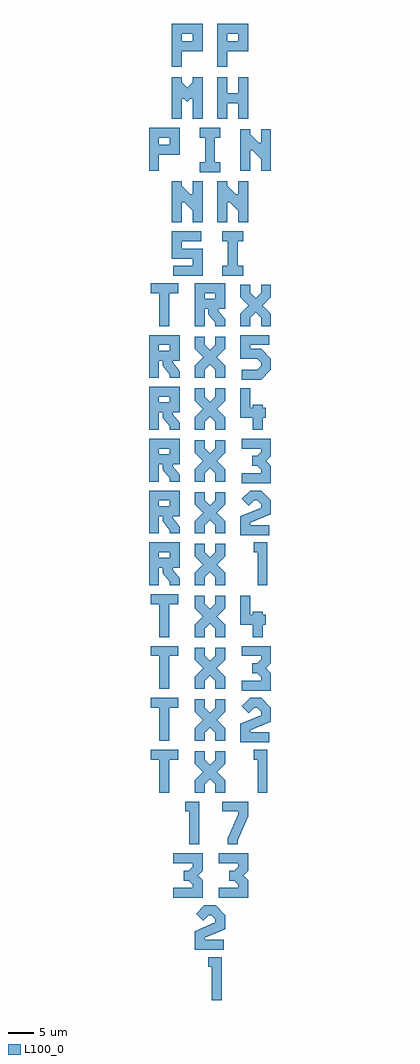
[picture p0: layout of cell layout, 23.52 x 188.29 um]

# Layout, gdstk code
import gdstk
lib = gdstk.Library(unit=1e-6, precision=1e-09)
def R(c, l, rs):  # rectangles x0, y0, x1, y1
    for r in rs: c.add(gdstk.rectangle(r[:2], r[2:], *l))
def A(c, l, x, y, w, h, nx, ny, dx, dy):  # array of equal rectangles
    R(c, l, [(x+i*dx, y+j*dy, x+i*dx+w, y+j*dy+h) for i in range(nx) for j in range(ny)])
def P(c, l, *ps):  # polygons
    for p in ps: c.add(gdstk.Polygon(p, *l))
L100_0 = (100, 0)

layout = lib.new_cell('layout')
A(layout, L100_0, -6.96, 39.333, 1.92, 7.334, 1, 4, 0, 10)
A(layout, L100_0, -8.667, 45.707, 5.334, 1.92, 1, 4, 0, 10)
R(layout, L100_0, [(11.04,69.333,12.96,74.2), (11.04,109.333,12.96,114.2), (-6.96,129.333,-5.04,136.667), (-8.667,135.707,-3.333,137.627), (5.2,139.04,9.2,140.96), (6.24,140,8.16,146.667), (5.2,145.707,9.2,147.627), (-4.56,149.333,-2.64,157.333), (-0.56,149.333,1.36,157.333), (4.24,149.333,6.16,157.333), (8.24,149.333,10.16,157.333), (-1.6,152.84,0.4,154.76), (7.2,152.84,9.2,154.76), (-3.6,153.24,-1.6,155.16), (5.2,153.24,7.2,155.16), (0.8,159.04,4.8,160.96), (8.64,159.333,10.56,167.333), (12.64,159.333,14.56,167.333), (1.84,160,3.76,166.667), (11.6,162.84,13.6,164.76), (9.6,163.24,11.6,165.16), (0.8,165.707,4.8,167.627), (-4.56,169.333,-2.64,177.333), (-0.56,169.333,1.36,177.333), (4.24,169.333,6.16,177.333), (8.24,169.333,10.16,177.333), (5.2,172.373,9.2,174.293), (-3.6,173.24,0.4,175.16)])
P(layout, L100_0, [(2.467,7.627),(5.093,7.627),(5.093,-0.667),(3.173,-0.667),(3.173,5.707),(2.467,5.707)],
  [(0.121,16.012),(1.736,17.627),(3.864,17.627),(5.76,15.731),(5.76,13.027),(1.76,11.36),(1.76,10.96),(5.467,10.96),(5.467,9.04),(-0.16,9.04),(-0.16,12.64),(3.84,14.307),(3.84,14.936),(3.069,15.707),(2.531,15.707),(1.479,14.655)],
  [(-4.267,27.627),(1.36,27.627),(1.36,24.269),(-0.536,22.373),(-2.267,22.373),(-2.267,24.293),(-1.331,24.293),(-0.56,25.064),(-0.56,25.707),(-4.267,25.707)],
  [(-0.255,24.012),(1.36,22.398),(1.36,19.04),(-4.267,19.04),(-4.267,20.96),(-0.56,20.96),(-0.56,21.602),(-1.612,22.655)],
  [(4.533,27.627),(10.16,27.627),(10.16,24.269),(8.264,22.373),(6.533,22.373),(6.533,24.293),(7.469,24.293),(8.24,25.064),(8.24,25.707),(4.533,25.707)],
  [(8.545,24.012),(10.16,22.398),(10.16,19.04),(4.533,19.04),(4.533,20.96),(8.24,20.96),(8.24,21.602),(7.188,22.655)],
  [(-1.933,37.627),(0.693,37.627),(0.693,29.333),(-1.227,29.333),(-1.227,35.707),(-1.933,35.707)],
  [(5.2,37.627),(10.16,37.627),(10.16,34.803),(8.16,30.136),(8.16,29.333),(6.24,29.333),(6.24,30.53),(8.24,35.197),(8.24,35.707),(5.2,35.707)],
  [(-0.16,39.333),(-0.16,41.731),(3.84,45.731),(3.84,47.333),(5.76,47.333),(5.76,44.936),(1.76,40.936),(1.76,39.333)],
  [(1.76,47.333),(1.76,45.731),(5.76,41.731),(5.76,39.333),(3.84,39.333),(3.84,40.936),(-0.16,44.936),(-0.16,47.333)],
  [(11.267,47.627),(13.893,47.627),(13.893,39.333),(11.973,39.333),(11.973,45.707),(11.267,45.707)],
  [(-0.16,49.333),(-0.16,51.731),(3.84,55.731),(3.84,57.333),(5.76,57.333),(5.76,54.936),(1.76,50.936),(1.76,49.333)],
  [(1.76,57.333),(1.76,55.731),(5.76,51.731),(5.76,49.333),(3.84,49.333),(3.84,50.936),(-0.16,54.936),(-0.16,57.333)],
  [(8.921,56.012),(10.536,57.627),(12.664,57.627),(14.56,55.731),(14.56,53.027),(10.56,51.36),(10.56,50.96),(14.267,50.96),(14.267,49.04),(8.64,49.04),(8.64,52.64),(12.64,54.307),(12.64,54.936),(11.869,55.707),(11.331,55.707),(10.279,54.655)],
  [(-0.16,59.333),(-0.16,61.731),(3.84,65.731),(3.84,67.333),(5.76,67.333),(5.76,64.936),(1.76,60.936),(1.76,59.333)],
  [(1.76,67.333),(1.76,65.731),(5.76,61.731),(5.76,59.333),(3.84,59.333),(3.84,60.936),(-0.16,64.936),(-0.16,67.333)],
  [(8.933,67.627),(14.56,67.627),(14.56,64.269),(12.664,62.373),(10.933,62.373),(10.933,64.293),(11.869,64.293),(12.64,65.064),(12.64,65.707),(8.933,65.707)],
  [(12.945,64.012),(14.56,62.398),(14.56,59.04),(8.933,59.04),(8.933,60.96),(12.64,60.96),(12.64,61.602),(11.588,62.655)],
  [(-0.16,69.333),(-0.16,71.731),(3.84,75.731),(3.84,77.333),(5.76,77.333),(5.76,74.936),(1.76,70.936),(1.76,69.333)],
  [(1.76,77.333),(1.76,75.731),(5.76,71.731),(5.76,69.333),(3.84,69.333),(3.84,70.936),(-0.16,74.936),(-0.16,77.333)],
  [(10.56,77.333),(10.56,73.627),(13.6,73.627),(13.6,71.707),(8.64,71.707),(8.64,77.333)],
  [(-8.96,79.333),(-8.96,87.627),(-3.04,87.627),(-3.04,82.707),(-6,82.707),(-6,84.627),(-4.96,84.627),(-4.96,85.707),(-7.04,85.707),(-7.04,79.333)],
  [(-8,84.627),(-4.373,84.627),(-4.373,82.337),(-3.04,80.67),(-3.04,79.333),(-4.96,79.333),(-4.96,79.997),(-6.293,81.663),(-6.293,82.707),(-8,82.707)],
  [(-0.16,79.333),(-0.16,81.731),(3.84,85.731),(3.84,87.333),(5.76,87.333),(5.76,84.936),(1.76,80.936),(1.76,79.333)],
  [(1.76,87.333),(1.76,85.731),(5.76,81.731),(5.76,79.333),(3.84,79.333),(3.84,80.936),(-0.16,84.936),(-0.16,87.333)],
  [(11.267,87.627),(13.893,87.627),(13.893,79.333),(11.973,79.333),(11.973,85.707),(11.267,85.707)],
  [(-8.96,89.333),(-8.96,97.627),(-3.04,97.627),(-3.04,92.707),(-6,92.707),(-6,94.627),(-4.96,94.627),(-4.96,95.707),(-7.04,95.707),(-7.04,89.333)],
  [(-8,94.627),(-4.373,94.627),(-4.373,92.337),(-3.04,90.67),(-3.04,89.333),(-4.96,89.333),(-4.96,89.997),(-6.293,91.663),(-6.293,92.707),(-8,92.707)],
  [(-0.16,89.333),(-0.16,91.731),(3.84,95.731),(3.84,97.333),(5.76,97.333),(5.76,94.936),(1.76,90.936),(1.76,89.333)],
  [(1.76,97.333),(1.76,95.731),(5.76,91.731),(5.76,89.333),(3.84,89.333),(3.84,90.936),(-0.16,94.936),(-0.16,97.333)],
  [(8.921,96.012),(10.536,97.627),(12.664,97.627),(14.56,95.731),(14.56,93.027),(10.56,91.36),(10.56,90.96),(14.267,90.96),(14.267,89.04),(8.64,89.04),(8.64,92.64),(12.64,94.307),(12.64,94.936),(11.869,95.707),(11.331,95.707),(10.279,94.655)],
  [(-8.96,99.333),(-8.96,107.627),(-3.04,107.627),(-3.04,102.707),(-6,102.707),(-6,104.627),(-4.96,104.627),(-4.96,105.707),(-7.04,105.707),(-7.04,99.333)],
  [(-8,104.627),(-4.373,104.627),(-4.373,102.337),(-3.04,100.67),(-3.04,99.333),(-4.96,99.333),(-4.96,99.997),(-6.293,101.663),(-6.293,102.707),(-8,102.707)],
  [(-0.16,99.333),(-0.16,101.731),(3.84,105.731),(3.84,107.333),(5.76,107.333),(5.76,104.936),(1.76,100.936),(1.76,99.333)],
  [(1.76,107.333),(1.76,105.731),(5.76,101.731),(5.76,99.333),(3.84,99.333),(3.84,100.936),(-0.16,104.936),(-0.16,107.333)],
  [(8.933,107.627),(14.56,107.627),(14.56,104.269),(12.664,102.373),(10.933,102.373),(10.933,104.293),(11.869,104.293),(12.64,105.064),(12.64,105.707),(8.933,105.707)],
  [(12.945,104.012),(14.56,102.398),(14.56,99.04),(8.933,99.04),(8.933,100.96),(12.64,100.96),(12.64,101.602),(11.588,102.655)],
  [(-8.96,109.333),(-8.96,117.627),(-3.04,117.627),(-3.04,112.707),(-6,112.707),(-6,114.627),(-4.96,114.627),(-4.96,115.707),(-7.04,115.707),(-7.04,109.333)],
  [(-8,114.627),(-4.373,114.627),(-4.373,112.337),(-3.04,110.67),(-3.04,109.333),(-4.96,109.333),(-4.96,109.997),(-6.293,111.663),(-6.293,112.707),(-8,112.707)],
  [(-0.16,109.333),(-0.16,111.731),(3.84,115.731),(3.84,117.333),(5.76,117.333),(5.76,114.936),(1.76,110.936),(1.76,109.333)],
  [(1.76,117.333),(1.76,115.731),(5.76,111.731),(5.76,109.333),(3.84,109.333),(3.84,110.936),(-0.16,114.936),(-0.16,117.333)],
  [(10.56,117.333),(10.56,113.627),(13.6,113.627),(13.6,111.707),(8.64,111.707),(8.64,117.333)],
  [(-8.96,119.333),(-8.96,127.627),(-3.04,127.627),(-3.04,122.707),(-6,122.707),(-6,124.627),(-4.96,124.627),(-4.96,125.707),(-7.04,125.707),(-7.04,119.333)],
  [(-8,124.627),(-4.373,124.627),(-4.373,122.337),(-3.04,120.67),(-3.04,119.333),(-4.96,119.333),(-4.96,119.997),(-6.293,121.663),(-6.293,122.707),(-8,122.707)],
  [(-0.16,119.333),(-0.16,121.731),(3.84,125.731),(3.84,127.333),(5.76,127.333),(5.76,124.936),(1.76,120.936),(1.76,119.333)],
  [(1.76,127.333),(1.76,125.731),(5.76,121.731),(5.76,119.333),(3.84,119.333),(3.84,120.936),(-0.16,124.936),(-0.16,127.333)],
  [(14.267,125.707),(10.56,125.707),(10.56,124.96),(12.664,124.96),(14.56,123.064),(14.56,120.936),(12.664,119.04),(8.933,119.04),(8.933,120.96),(11.869,120.96),(12.64,121.731),(12.64,122.269),(11.869,123.04),(8.64,123.04),(8.64,127.627),(14.267,127.627)],
  [(-0.16,129.333),(-0.16,137.627),(5.76,137.627),(5.76,132.707),(2.8,132.707),(2.8,134.627),(3.84,134.627),(3.84,135.707),(1.76,135.707),(1.76,129.333)],
  [(0.8,134.627),(4.427,134.627),(4.427,132.337),(5.76,130.67),(5.76,129.333),(3.84,129.333),(3.84,129.997),(2.507,131.663),(2.507,132.707),(0.8,132.707)],
  [(8.64,129.333),(8.64,131.731),(12.64,135.731),(12.64,137.333),(14.56,137.333),(14.56,134.936),(10.56,130.936),(10.56,129.333)],
  [(10.56,137.333),(10.56,135.731),(14.56,131.731),(14.56,129.333),(12.64,129.333),(12.64,130.936),(8.64,134.936),(8.64,137.333)],
  [(-4.267,140.96),(-0.56,140.96),(-0.56,142.373),(-4.56,142.373),(-4.56,147.627),(1.067,147.627),(1.067,145.707),(-2.64,145.707),(-2.64,144.293),(1.36,144.293),(1.36,139.04),(-4.267,139.04)],
  [(-2.921,156.679),(1.079,152.679),(-0.279,151.321),(-4.279,155.321)],
  [(5.879,156.679),(9.879,152.679),(8.521,151.321),(4.521,155.321)],
  [(-8.96,159.333),(-8.96,167.627),(-4.667,167.627),(-4.667,165.707),(-7.04,165.707),(-7.04,159.333)],
  [(-6.667,167.627),(-3.04,167.627),(-3.04,162.373),(-8,162.373),(-8,164.293),(-4.96,164.293),(-4.96,165.707),(-6.667,165.707)],
  [(10.279,166.679),(14.279,162.679),(12.921,161.321),(8.921,165.321)],
  [(-2.921,176.679),(-1.6,175.358),(-0.279,176.679),(1.079,175.321),(-1.6,172.642),(-4.279,175.321)],
  [(-4.56,179.333),(-4.56,187.627),(-0.267,187.627),(-0.267,185.707),(-2.64,185.707),(-2.64,179.333)],
  [(-2.267,187.627),(1.36,187.627),(1.36,182.373),(-3.6,182.373),(-3.6,184.293),(-0.56,184.293),(-0.56,185.707),(-2.267,185.707)],
  [(4.24,179.333),(4.24,187.627),(8.533,187.627),(8.533,185.707),(6.16,185.707),(6.16,179.333)],
  [(6.533,187.627),(10.16,187.627),(10.16,182.373),(5.2,182.373),(5.2,184.293),(8.24,184.293),(8.24,185.707),(6.533,185.707)])

lib.write_gds('layout.gds')
